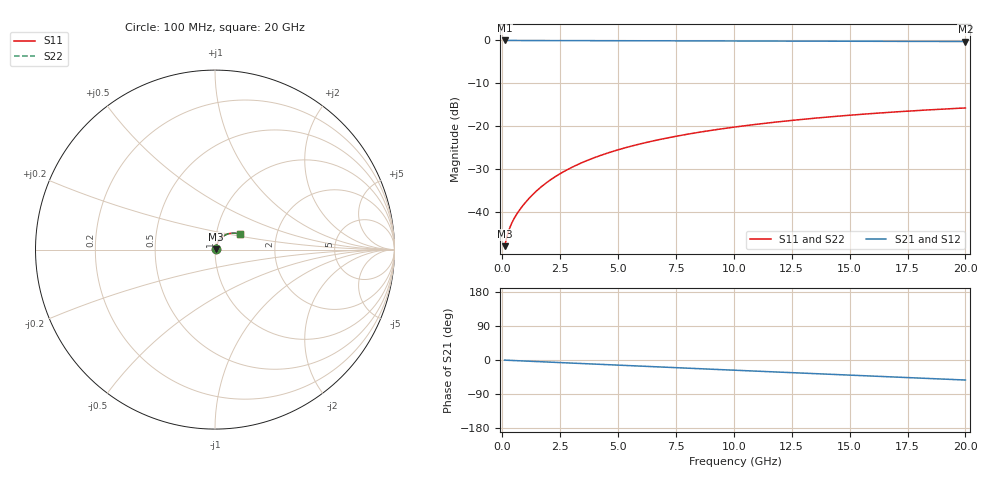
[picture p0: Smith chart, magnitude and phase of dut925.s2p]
! Touchstone file exported from HFSS 2026.1.0
!  File:  C:/ffzhzh/LocalFiles/Ansys_Project_Files/temp_train_TMRDL_925_1783158249_51560.aedt
!  Generated:  05:45:24 PM Jul  4, 2026
!  Design:  TMRDL
!  Project:  temp_train_TMRDL_925_1783158249_51560
! Variables:
!  h_bsmrdl = 2um
!  h_ox = 20um
!  h_rdl = 5um
!  h_sub = 80um
!  h_tmrdl = 3.44um
!  h_tsv = 80um
!  h_via = 3um
!  l_bsmrdl = 300um
!  l_sub = 1317.01um
!  l_tmrdl = 917.01um
!  m_sub = 200um
!  pitch = 38.16um
!  r_tsv = 6um
!  s_tmrdl = 10um
!  w_bsmrdl = 18um
!  w_sub = 500um
!  w_tmrdl = 29.49um
!  x_tsv_center1 = 931.755um
!  x_tsv_center2 = 1249.755um
!  x_tsv_center3 = 2196.255um
!  x_tsv_center4 = 2514.255um
!  x_tsv_center5 = 3460.755um
!  x_tsv_center6 = 3778.755um
# GHz S MA R 50.000000
! Terminal data exported
! Port[1] = TM_RDL1_1_T1
! Port[2] = TM_RDL1_1_T2
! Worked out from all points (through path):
!   200 points, 100 MHz to 20 GHz, reference 50 ohm
!   highest |S21| = -0.03 dB at 100 MHz (marker M1); lowest = -0.3 dB at 20 GHz (marker M2)
!   group delay of S21, straight-line fit = 7.32 ps
!   lowest |S11| = -48.0 dB at 100 MHz (marker M3), VSWR 1.01, Z = 50.4 + j0.172 ohm
!   |S11| at or under -10 dB: start of sweep to end of sweep
!   |S22| runs from -48.0 to -15.8 dB; largest |S21 - S12| = 2.7e-15
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0.1  0.003968 25.5  0.9964 -0.3  0.9964 -0.3  0.003968 25.5
! Gamma 0 0 0 0
! Port Impedance 50 0 50 0
0.2  0.005125 38.2  0.996 -0.6  0.996 -0.6  0.005125 38.2
0.3  0.006271 44.1  0.9956 -0.9  0.9956 -0.9  0.006272 44.2
0.4  0.007298 47.9  0.9952 -1.2  0.9952 -1.2  0.0073 47.9
0.5  0.008247 50.9  0.995 -1.4  0.995 -1.4  0.00825 50.9
0.6  0.009162 53.5  0.9948 -1.7  0.9948 -1.7  0.009165 53.5
0.8  0.01098 57.8  0.9945 -2.2  0.9945 -2.2  0.01098 57.8
1.2  0.01476 63.6  0.9942 -3.3  0.9942 -3.3  0.01476 63.6
1.7  0.01971 67.4  0.9938 -4.7  0.9938 -4.7  0.01971 67.3
2.2  0.02478 69.1  0.9934 -6.0  0.9934 -6.0  0.02478 69.1
2.8  0.0309 69.7  0.9928 -7.7  0.9928 -7.7  0.0309 69.7
3.5  0.03799 69.4  0.992 -9.6  0.992 -9.6  0.038 69.3
4.2  0.04499 68.5  0.9911 -11.5  0.9911 -11.5  0.04499 68.4
5  0.05281 67.0  0.99 -13.6  0.99 -13.6  0.05282 67.0
5.9  0.06138 65.2  0.9887 -16.0  0.9887 -16.0  0.06138 65.1
6.8  0.06967 63.2  0.9873 -18.4  0.9873 -18.4  0.06968 63.1
8.3  0.08291 59.7  0.9849 -22.4  0.9849 -22.4  0.08292 59.6
10.1  0.09786 55.4  0.9821 -27.1  0.9821 -27.1  0.09787 55.3
11.7  0.1103 51.5  0.9797 -31.3  0.9797 -31.3  0.1104 51.4
13.4  0.1228 47.5  0.9772 -35.8  0.9772 -35.8  0.1228 47.3
16.7  0.1445 39.5  0.9727 -44.3  0.9727 -44.3  0.1445 39.3
20  0.1626 31.5  0.9686 -52.9  0.9686 -52.9  0.1626 31.3
